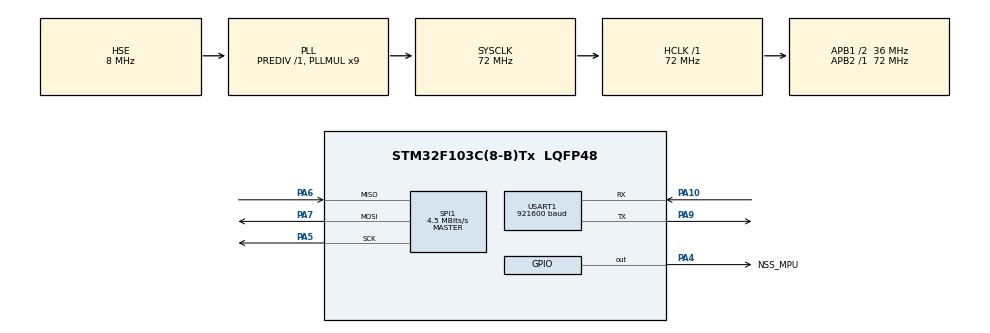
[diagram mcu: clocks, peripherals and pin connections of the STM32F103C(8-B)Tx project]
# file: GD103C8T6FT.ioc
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FREERTOS.Tasks01=defaultTask,24,128,StartDefaultTask,Default,NULL,Dynamic,NULL,NULL
FREERTOS.configUSE_NEWLIB_REENTRANT=1
Mcu.Family=STM32F1
Mcu.Name=STM32F103C(8-B)Tx
Mcu.Package=LQFP48
NVIC.PriorityGroup=NVIC_PRIORITYGROUP_4
NVIC.TIM1_UP_IRQn=true\:15\:0\:false\:false\:true\:false\:false\:true\:true
NVIC.TimeBase=TIM1_UP_IRQn
NVIC.TimeBaseIP=TIM1
PA10.Mode=Asynchronous
PA10.Signal=USART1_RX
PA13.Mode=Serial_Wire
PA13.Signal=SYS_JTMS-SWDIO
PA14.Mode=Serial_Wire
PA14.Signal=SYS_JTCK-SWCLK
PA4.GPIO_Label=NSS_MPU
PA4.Signal=GPIO_Output
PA5.Mode=Full_Duplex_Master
PA5.Signal=SPI1_SCK
PA6.Mode=Full_Duplex_Master
PA6.Signal=SPI1_MISO
PA7.Mode=Full_Duplex_Master
PA7.Signal=SPI1_MOSI
PA9.Mode=Asynchronous
PA9.Signal=USART1_TX
PD0-OSC_IN.Mode=HSE-External-Oscillator
PD0-OSC_IN.Signal=RCC_OSC_IN
PD1-OSC_OUT.Mode=HSE-External-Oscillator
PD1-OSC_OUT.Signal=RCC_OSC_OUT
ProjectManager.HeapSize=0x200
ProjectManager.StackSize=0x400
ProjectManager.TargetToolchain=STM32CubeIDE
RCC.AHBFreq_Value=72000000
RCC.APB1CLKDivider=RCC_HCLK_DIV2
RCC.APB1Freq_Value=36000000
RCC.APB1TimFreq_Value=72000000
RCC.APB2Freq_Value=72000000
RCC.APB2TimFreq_Value=72000000
RCC.HCLKFreq_Value=72000000
RCC.PLLMUL=RCC_PLL_MUL9
RCC.PLLSourceVirtual=RCC_PLLSOURCE_HSE
RCC.SYSCLKFreq_VALUE=72000000
RCC.SYSCLKSource=RCC_SYSCLKSOURCE_PLLCLK
RCC.USBFreq_Value=72000000
SPI1.BaudRatePrescaler=SPI_BAUDRATEPRESCALER_16
SPI1.CalculateBaudRate=4.5 MBits/s
SPI1.Direction=SPI_DIRECTION_2LINES
SPI1.Mode=SPI_MODE_MASTER
SPI1.VirtualType=VM_MASTER
USART1.BaudRate=921600
USART1.VirtualMode=VM_ASYNC
VP_FREERTOS_VS_CMSIS_V2.Mode=CMSIS_V2
VP_SYS_VS_tim1.Mode=TIM1
board=custom

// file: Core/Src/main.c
/* USER CODE BEGIN Header */
/**
  ******************************************************************************
  * @file           : main.c
  * @brief          : Main program body
  ******************************************************************************
  * @attention
  *
  * Copyright (c) 2023 STMicroelectronics.
  * All rights reserved.
  *
  * This software is licensed under terms that can be found in the LICENSE file
  * in the root directory of this software component.
  * If no LICENSE file comes with this software, it is provided AS-IS.
  *
  ******************************************************************************
  */
/* USER CODE END Header */
#include "main.h"
#include "cmsis_os.h"
#include "spi.h"
#include "usart.h"
#include "gpio.h"

/* USER CODE BEGIN Includes */
#include "MPU9250.h"
#include <string.h>
#include <stdio.h>
/* USER CODE END Includes */

void SystemClock_Config(void);
void MX_FREERTOS_Init(void);
/* USER CODE BEGIN PFP */
uint8_t MPU9250_Init();
void MPU9250_calibrate();
/* USER CODE END PFP */

int main(void)
{

  /* MCU Configuration--------------------------------------------------------*/

  /* Reset of all peripherals, Initializes the Flash interface and the Systick. */
  HAL_Init();

  /* Configure the system clock */
  SystemClock_Config();

  /* Initialize all configured peripherals */
  MX_GPIO_Init();
  MX_USART1_UART_Init();
  MX_SPI1_Init();
  /* USER CODE BEGIN 2 */
  MPU9250_calibrate();
  HAL_Delay(2000);
  MPU9250_Init();
  HAL_Delay(500);
  /* USER CODE END 2 */

  /* Init scheduler */
  osKernelInitialize();  /* Call init function for freertos objects (in freertos.c) */
  MX_FREERTOS_Init();

  /* Start scheduler */
  osKernelStart();

  /* We should never get here as control is now taken by the scheduler */
  /* Infinite loop */
  while (1)
  {

  }
}

void SystemClock_Config(void)
{
  RCC_OscInitTypeDef RCC_OscInitStruct = {0};
  RCC_ClkInitTypeDef RCC_ClkInitStruct = {0};

  /** Initializes the RCC Oscillators according to the specified parameters
  * in the RCC_OscInitTypeDef structure.
  */
  RCC_OscInitStruct.OscillatorType = RCC_OSCILLATORTYPE_HSE;
  RCC_OscInitStruct.HSEState = RCC_HSE_ON;
  RCC_OscInitStruct.HSEPredivValue = RCC_HSE_PREDIV_DIV1;
  RCC_OscInitStruct.HSIState = RCC_HSI_ON;
  RCC_OscInitStruct.PLL.PLLState = RCC_PLL_ON;
  RCC_OscInitStruct.PLL.PLLSource = RCC_PLLSOURCE_HSE;
  RCC_OscInitStruct.PLL.PLLMUL = RCC_PLL_MUL9;
  if (HAL_RCC_OscConfig(&RCC_OscInitStruct) != HAL_OK)
  {
    Error_Handler();
  }

  /** Initializes the CPU, AHB and APB buses clocks
  */
  RCC_ClkInitStruct.ClockType = RCC_CLOCKTYPE_HCLK|RCC_CLOCKTYPE_SYSCLK
                              |RCC_CLOCKTYPE_PCLK1|RCC_CLOCKTYPE_PCLK2;
  RCC_ClkInitStruct.SYSCLKSource = RCC_SYSCLKSOURCE_PLLCLK;
  RCC_ClkInitStruct.AHBCLKDivider = RCC_SYSCLK_DIV1;
  RCC_ClkInitStruct.APB1CLKDivider = RCC_HCLK_DIV2;
  RCC_ClkInitStruct.APB2CLKDivider = RCC_HCLK_DIV1;

  if (HAL_RCC_ClockConfig(&RCC_ClkInitStruct, FLASH_LATENCY_2) != HAL_OK)
  {
    Error_Handler();
  }
}

void HAL_TIM_PeriodElapsedCallback(TIM_HandleTypeDef *htim)
{
  if (htim->Instance == TIM1) {
    HAL_IncTick();
  }
}

void Error_Handler(void)
{
  __disable_irq();
  while (1)
  {
  }
}

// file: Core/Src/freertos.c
/* USER CODE BEGIN Header */
/**
  ******************************************************************************
  * File Name          : freertos.c
  * Description        : Code for freertos applications
  ******************************************************************************
  * @attention
  *
  * Copyright (c) 2023 STMicroelectronics.
  * All rights reserved.
  *
  * This software is licensed under terms that can be found in the LICENSE file
  * in the root directory of this software component.
  * If no LICENSE file comes with this software, it is provided AS-IS.
  *
  ******************************************************************************
  */
/* USER CODE END Header */

#include "FreeRTOS.h"
#include "task.h"
#include "main.h"
#include "cmsis_os.h"

/* USER CODE BEGIN Includes */
#include "madgwickFilter.h"
#include "usart.h"
#include <string.h>
/* USER CODE END Includes */

/* USER CODE BEGIN Variables */
volatile float mass[1000];
uint8_t can_data[8] = {0,};
uint8_t can_alt_data[8] = {0,};
char buffer[10];
float gyroX;
float gyroY;
float gyroZ;
float accelX;
float accelY;
float accelZ;
float gyroX_filtered;
float gyroY_filtered;
float gyroZ_filtered;
float accelX_filtered;
float accelY_filtered;
float accelZ_filtered;
float accelX_summ;
float accelY_summ;
float accelZ_summ;
float accelX_average;
float accelY_average;
float accelZ_average;
float gyroX_summ;
float gyroY_summ;
float gyroZ_summ;
float gyroX_average;
float gyroY_average;
float gyroZ_average;

float roll = 0.0, pitch = 0.0, yaw = 0.0;

float auxiliary_roll = 0.0, auxiliary_pitch = 0.0, auxiliary_yaw = 0.0;

uint8_t acc_data[8] = {0,};

uint8_t gyro_data[8] = {0,};

extern uint8_t _buffer[21];

extern uint16_t ii, packet_count, fifo_count;

uint32_t can = 0;

uint32_t gyroZ_drift = 0;

extern volatile float relativeAltitudeFiltered;

float data[6] = { 0.1, 0.2, 0.3, 0.4, 0.5, 0.6 };
uint8_t data_8t[24];
//uint8_t buffer[12];

int32_t gyro_bias[3]  = {0, 0, 0}, accel_bias[3] = {0, 0, 0};
int32_t accel_bias_reg[3] = {0, 0, 0};
uint32_t rawTemperature = 0;
uint32_t count = 0;
/* USER CODE END Variables */
/* Definitions for defaultTask */
osThreadId_t defaultTaskHandle;
const osThreadAttr_t defaultTask_attributes = {
  .name = "defaultTask",
  .stack_size = 128 * 4,
  .priority = (osPriority_t) osPriorityNormal,
};

/* USER CODE BEGIN FunctionPrototypes */
void MPU9250_GetData(int16_t* AccData, int16_t* MagData, int16_t* GyroData);
/* USER CODE END FunctionPrototypes */

void StartDefaultTask(void *argument);

void MX_FREERTOS_Init(void); /* (MISRA C 2004 rule 8.1) */

void MX_FREERTOS_Init(void) {

  /* Create the thread(s) */
  /* creation of defaultTask */
  defaultTaskHandle = osThreadNew(StartDefaultTask, NULL, &defaultTask_attributes);

}

void StartDefaultTask(void *argument)
{
  /* USER CODE BEGIN StartDefaultTask */
  TickType_t xLastWakeTime;
  const TickType_t xFrequency = 10;
  xLastWakeTime = xTaskGetTickCount();
  /* Infinite loop */
  for(;;)
  {
	int16_t AccData[3], GyroData[3], MagData[3];
	MPU9250_GetData(AccData, GyroData, MagData);
//	accelX_average = accelX_filtered;
//	accelY_average = accelY_filtered;
//	accelZ_average = accelZ_filtered;
//	gyroX_average = gyroX_filtered;
//	gyroY_average = gyroY_filtered;
//	gyroZ_average = gyroZ_filtered;
	//imu_filter_rp(-accelX_average, -accelY_average, -accelZ_average, gyroX_average, gyroY_average, 0);

	//imu_filter_y(accelX_average, accelY_average, accelZ_average, gyroX_average, gyroY_average, gyroZ_average);
	//yaw = 0;
	//q_est_rp.q4 = 0;
	//eulerAngles(q_est_rp, &roll, &pitch, &yaw);
	//eulerAngles(q_est_y, &auxiliary_roll, &auxiliary_pitch, &auxiliary_yaw);
	memcpy(&data_8t, &accelX, sizeof(float));
	memcpy(&data_8t[4], &accelY, sizeof(float));
	memcpy(&data_8t[8], &accelZ, sizeof(float));
	memcpy(&data_8t[12], &gyroX, sizeof(float));
	memcpy(&data_8t[16], &gyroY, sizeof(float));
	memcpy(&data_8t[20], &gyroZ, sizeof(float));
	uint8_t start_symbol[1] = {'S'};
	uint8_t stop_symbol[1] = {'E'};
	HAL_UART_Transmit(&huart1, (uint8_t*)start_symbol, sizeof(start_symbol), 1000);
	HAL_UART_Transmit(&huart1, (uint8_t*)start_symbol, sizeof(start_symbol), 1000);
	HAL_UART_Transmit(&huart1, (uint8_t*)data_8t, sizeof(data_8t), 1000);
	HAL_UART_Transmit(&huart1, (uint8_t*)stop_symbol, sizeof(start_symbol), 1000);
	HAL_UART_Transmit(&huart1, (uint8_t*)stop_symbol, sizeof(start_symbol), 1000);
	vTaskDelayUntil(&xLastWakeTime, xFrequency);
  }
  /* USER CODE END StartDefaultTask */
}
